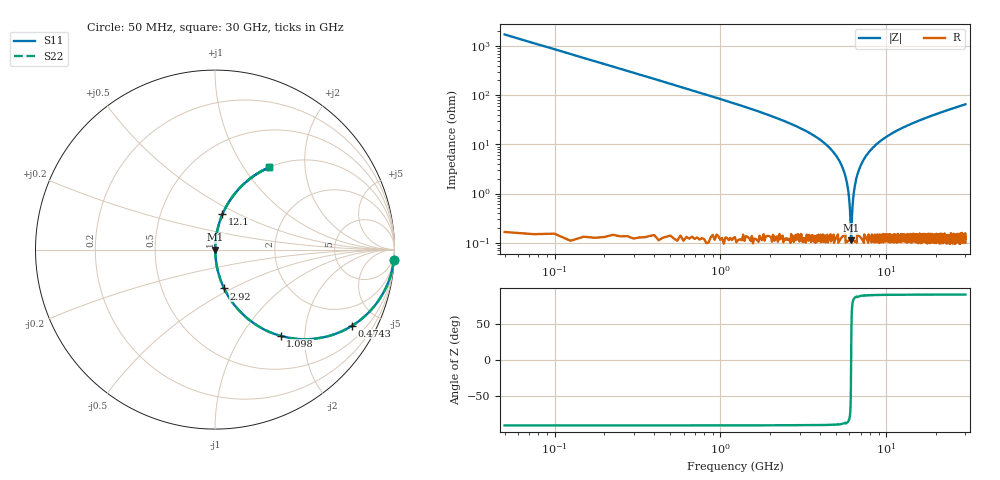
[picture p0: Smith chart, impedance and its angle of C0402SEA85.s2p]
!	AVX Thin Film Operation 	Date: April 2014
!	Description: Accu-P® Series, Thin Film  SMD RF Capacitor
!	Part Number: 04021JA85ZBSTR
# MHZ S MA R 50
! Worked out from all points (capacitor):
!   1201 points, 50 MHz to 30 GHz, reference 50 ohm
!   read as one part in series: C = 1.85 pF near 199.8 MHz
!   lowest |Z| = 113 mohm at 6.14 GHz (marker M1)
!   series resonance near 6.142 GHz, so ESL is about 360 pH
!   S11 on the Smith chart (normalised r, x): 50 MHz: 1, -34; 474.3 MHz: 1.00, -3.61; 1.098 GHz: 1.00, -1.52; 2.92 GHz: 1.00, -0.46; 12.1 GHz: 1.00, +0.41; 30 GHz: 1.00, +1.31
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50  0.998 -3.3  0.058 86.7  0.058 86.7  0.998 -3.3
274.625  0.952 -17.7  0.305 72.2  0.305 72.2  0.952 -17.7
474.292  0.874 -29.0  0.485 61.0  0.485 61.0  0.874 -29.0
1098.25  0.604 -52.8  0.796 37.1  0.796 37.1  0.604 -52.8
1822.042  0.395 -66.6  0.917 23.3  0.917 23.3  0.395 -66.6
2920.208  0.222 -76.9  0.974 12.8  0.974 12.8  0.222 -76.9
5041.667  0.056 -85.5  0.997 3.2  0.997 3.2  0.056 -85.5
5715.542  0.02 -85.3  0.999 1.2  0.999 1.2  0.02 -85.3
5890.25  0.012 -83.2  0.999 0.7  0.999 0.7  0.012 -83.2
6040  0.004831 -74.8  0.999 0.3  0.999 0.3  0.004831 -74.8
6139.833  0.001251 -3.7  0.999 0.0  0.999 0.0  0.001251 -3.7
6239.667  0.004606 74.0  0.999 -0.3  0.999 -0.3  0.004606 74.0
6389.417  0.011 82.9  0.999 -0.6  0.999 -0.6  0.011 82.9
6564.125  0.019 85.1  0.999 -1.1  0.999 -1.1  0.019 85.1
7163.125  0.043 85.9  0.998 -2.5  0.998 -2.5  0.043 85.9
8211.375  0.082 84.4  0.995 -4.7  0.995 -4.7  0.082 84.4
10058.29  0.142 81.3  0.989 -8.2  0.989 -8.2  0.142 81.3
12104.88  0.201 78.1  0.978 -11.6  0.978 -11.6  0.201 78.1
15025  0.274 73.8  0.96 -15.9  0.96 -15.9  0.274 73.8
20016.67  0.382 67.4  0.923 -22.4  0.923 -22.4  0.382 67.4
25033.29  0.472 61.7  0.88 -28.2  0.88 -28.2  0.472 61.7
30000  0.548 56.7  0.836 -33.2  0.836 -33.2  0.548 56.7
